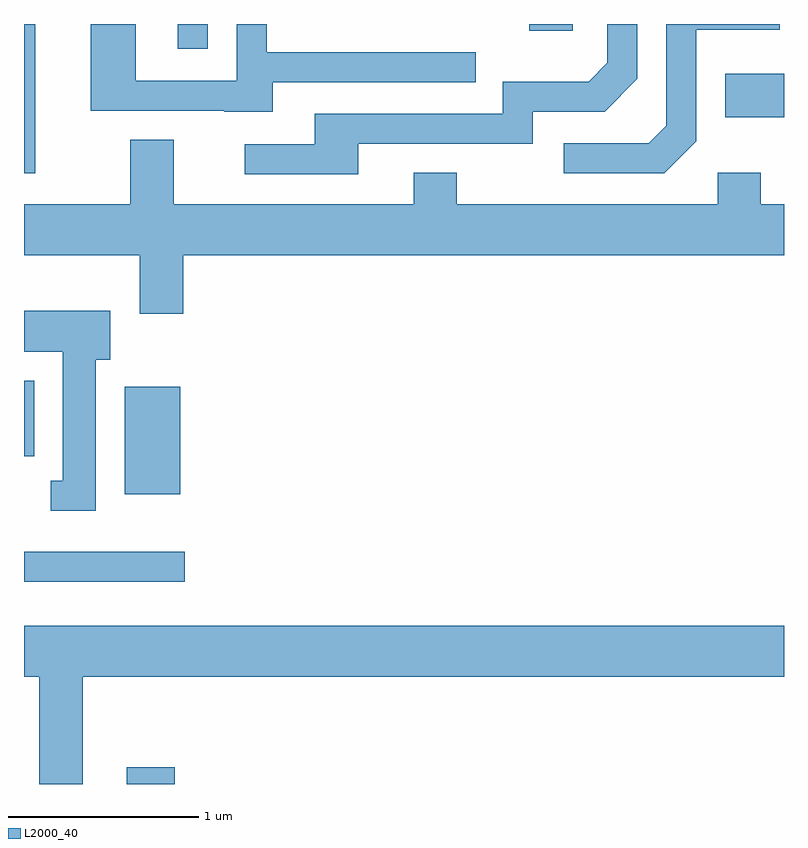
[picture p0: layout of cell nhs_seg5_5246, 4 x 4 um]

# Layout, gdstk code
import gdstk
lib = gdstk.Library(unit=1e-6, precision=1e-09)
def R(c, l, rs):  # rectangles x0, y0, x1, y1
    for r in rs: c.add(gdstk.rectangle(r[:2], r[2:], *l))
def P(c, l, *ps):  # polygons
    for p in ps: c.add(gdstk.Polygon(p, *l))
L2000_40 = (2000, 40)

nhs_seg5_5246 = lib.new_cell('nhs_seg5_5246')
R(nhs_seg5_5246, L2000_40, [(342.151,1394.072,342.404,1394.159), (341.611,1395.136,342.458,1395.294), (342.141,1395.596,342.434,1396.164), (341.611,1395.796,341.664,1396.194), (341.611,1397.286,341.669,1398.072), (345.301,1397.581,345.611,1397.809), (342.421,1397.943,342.579,1398.072), (344.271,1398.036,344.499,1398.072)])
P(nhs_seg5_5246, L2000_40, [(342.919,1397.766),(343.988,1397.766),(343.988,1397.924),(342.889,1397.924),(342.889,1398.072),(342.731,1398.072),(342.731,1397.774),(342.199,1397.774),(342.199,1398.072),(341.961,1398.072),(341.961,1397.616),(342.665,1397.616),(342.665,1397.611),(342.919,1397.611)],
  [(345.149,1397.454),(345.149,1398.041),(345.589,1398.041),(345.589,1398.072),(344.991,1398.072),(344.991,1397.537),(344.899,1397.444),(344.453,1397.444),(344.453,1397.286),(344.982,1397.286)],
  [(343.369,1397.441),(344.289,1397.441),(344.289,1397.611),(344.667,1397.611),(344.839,1397.784),(344.839,1398.072),(344.681,1398.072),(344.681,1397.867),(344.584,1397.769),(344.131,1397.769),(344.131,1397.599),(343.141,1397.599),(343.141,1397.439),(342.773,1397.439),(342.773,1397.281),(343.369,1397.281)],
  [(342.449,1396.856),(345.611,1396.856),(345.611,1397.124),(345.489,1397.124),(345.489,1397.289),(345.261,1397.289),(345.261,1397.124),(343.889,1397.124),(343.889,1397.289),(343.661,1397.289),(343.661,1397.124),(342.399,1397.124),(342.399,1397.464),(342.171,1397.464),(342.171,1397.124),(341.611,1397.124),(341.611,1396.856),(342.221,1396.856),(342.221,1396.546),(342.449,1396.546)],
  [(341.989,1396.306),(342.064,1396.306),(342.064,1396.564),(341.611,1396.564),(341.611,1396.346),(341.816,1396.346),(341.816,1395.669),(341.753,1395.669),(341.753,1395.511),(341.989,1395.511)],
  [(341.919,1394.636),(345.611,1394.636),(345.611,1394.904),(341.611,1394.904),(341.611,1394.636),(341.691,1394.636),(341.691,1394.072),(341.919,1394.072)])

lib.write_gds('nhs_seg5_5246.gds')
